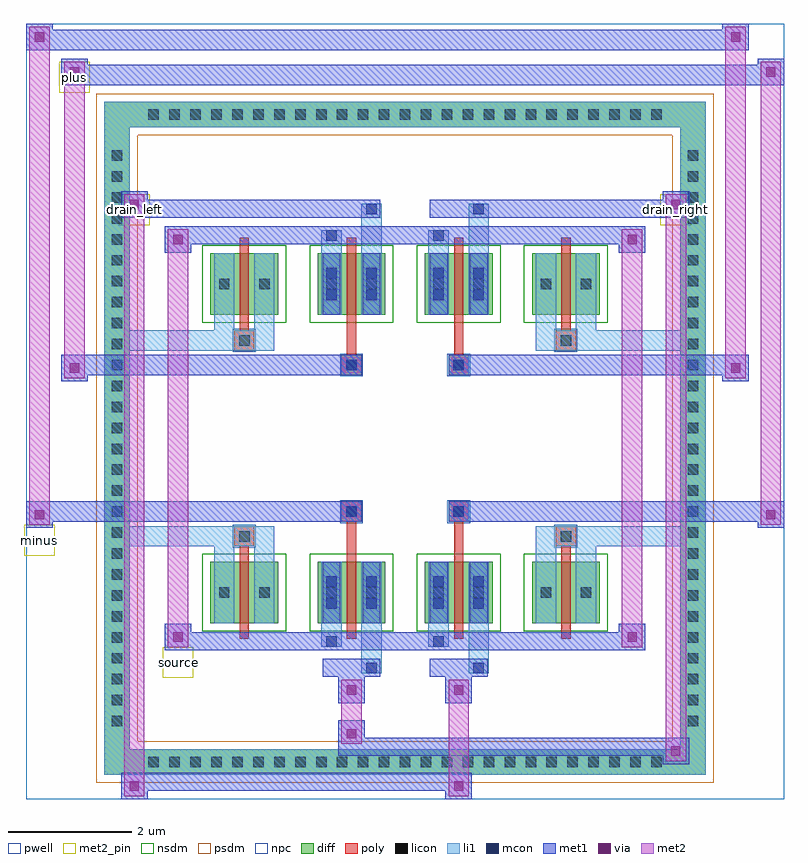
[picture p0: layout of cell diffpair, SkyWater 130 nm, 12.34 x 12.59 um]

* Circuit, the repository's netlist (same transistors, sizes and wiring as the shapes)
* NGSPICE file created from diffpair.ext - technology: sky130A

.subckt diffpair minus drain_right drain_left source plus
X0 drain_right minus source a_n976_n1092# sky130_fd_pr__nfet_01v8 ad=0.475 pd=2.95 as=0.475 ps=2.95 w=1 l=0.15
X1 drain_right minus source a_n976_n1092# sky130_fd_pr__nfet_01v8 ad=0.475 pd=2.95 as=0.475 ps=2.95 w=1 l=0.15
X2 drain_left plus source a_n976_n1092# sky130_fd_pr__nfet_01v8 ad=0.475 pd=2.95 as=0.475 ps=2.95 w=1 l=0.15
X3 a_n976_n1092# a_n976_n1092# a_n976_n1092# a_n976_n1092# sky130_fd_pr__nfet_01v8 ad=0.475 pd=2.95 as=3.8 ps=23.6 w=1 l=0.15
X4 a_n976_n1092# a_n976_n1092# a_n976_n1092# a_n976_n1092# sky130_fd_pr__nfet_01v8 ad=0.475 pd=2.95 as=0 ps=0 w=1 l=0.15
X5 drain_left plus source a_n976_n1092# sky130_fd_pr__nfet_01v8 ad=0.475 pd=2.95 as=0.475 ps=2.95 w=1 l=0.15
X6 a_n976_n1092# a_n976_n1092# a_n976_n1092# a_n976_n1092# sky130_fd_pr__nfet_01v8 ad=0.475 pd=2.95 as=0 ps=0 w=1 l=0.15
X7 a_n976_n1092# a_n976_n1092# a_n976_n1092# a_n976_n1092# sky130_fd_pr__nfet_01v8 ad=0.475 pd=2.95 as=0 ps=0 w=1 l=0.15
.ends

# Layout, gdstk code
import gdstk
lib = gdstk.Library(unit=1e-6, precision=5e-09)
def R(c, l, rs):  # rectangles x0, y0, x1, y1
    for r in rs: c.add(gdstk.rectangle(r[:2], r[2:], *l))
def A(c, l, x, y, w, h, nx, ny, dx, dy):  # array of equal rectangles
    R(c, l, [(x+i*dx, y+j*dy, x+i*dx+w, y+j*dy+h) for i in range(nx) for j in range(ny)])
def P(c, l, *ps):  # polygons
    for p in ps: c.add(gdstk.Polygon(p, *l))
pwell = (64, 44)
diff = (65, 20)
poly = (66, 20)
licon = (66, 44)
li1 = (67, 20)
mcon = (67, 44)
met1 = (68, 20)
via = (68, 44)
met2_pin = (69, 16)
met2 = (69, 20)
nsdm = (93, 44)
psdm = (94, 20)
npc = (95, 20)

diffpair = lib.new_cell('diffpair')
R(diffpair, pwell, [(-6.15,-5.86,6.15,6.73), (-3.47,-4.05,-0.01,-0.825), (0.01,-4.05,3.47,-0.825), (-3.47,0.825,-0.01,4.05), (0.01,0.825,3.47,4.05)])
A(diffpair, diff, -4.285, -5.46, 0.41, 0.41, 25, 2, 0.34, 10.51)
A(diffpair, diff, -4.88, -4.795, 0.41, 0.41, 1, 28, 0, 0.34)
A(diffpair, diff, 4.47, -4.795, 0.41, 0.41, 1, 28, 0, 0.34)
A(diffpair, diff, -3.16, -3.005, 1.1, 1, 4, 2, 1.74, 5.01)
R(diffpair, diff, [(-4.285,-5.46,4.285,-5.05), (-4.88,-4.795,-4.47,4.795), (4.47,-4.795,4.88,4.795), (-4.285,5.05,4.285,5.46)])
P(diffpair, diff, [(4.88,5.46),(-4.88,5.46),(-4.88,-5.05),(-4.47,-5.05),(-4.47,5.05),(4.47,5.05),(4.47,-5.05),(-4.47,-5.05),(-4.88,-5.05),(-4.88,-5.46),(4.88,-5.46)])
A(diffpair, poly, -2.685, -3.255, 0.15, 1.5, 4, 2, 1.74, 5.01)
R(diffpair, poly, [(-2.775,-1.755,-2.445,-1.425), (-2.775,-1.755,-2.445,-1.425), (-0.945,-1.755,-0.795,-1.355), (0.795,-1.755,0.945,-1.355), (2.445,-1.755,2.775,-1.425), (2.445,-1.755,2.775,-1.425), (-1.035,-1.355,-0.705,-1.025), (-1.035,-1.355,-0.705,-1.025), (0.705,-1.355,1.035,-1.025), (0.705,-1.355,1.035,-1.025), (-1.035,1.025,-0.705,1.355), (-1.035,1.025,-0.705,1.355), (0.705,1.025,1.035,1.355), (0.705,1.025,1.035,1.355), (-0.945,1.355,-0.795,1.755), (0.795,1.355,0.945,1.755), (-2.775,1.425,-2.445,1.755), (-2.775,1.425,-2.445,1.755), (2.445,1.425,2.775,1.755), (2.445,1.425,2.775,1.755)])
A(diffpair, licon, -4.165, -5.34, 0.17, 0.17, 25, 2, 0.34, 10.51)
A(diffpair, licon, -4.76, -4.675, 0.17, 0.17, 1, 28, 0, 0.34)
A(diffpair, licon, 4.59, -4.675, 0.17, 0.17, 1, 28, 0, 0.34)
R(diffpair, licon, [(-3.02,-2.59,-2.85,-2.42), (-2.37,-2.59,-2.2,-2.42), (-1.28,-2.59,-1.11,-2.42), (-0.63,-2.59,-0.46,-2.42), (0.46,-2.59,0.63,-2.42), (1.11,-2.59,1.28,-2.42), (2.2,-2.59,2.37,-2.42), (2.85,-2.59,3.02,-2.42), (-2.695,-1.675,-2.525,-1.505), (2.525,-1.675,2.695,-1.505), (-0.955,-1.275,-0.785,-1.105), (0.785,-1.275,0.955,-1.105), (-0.955,1.105,-0.785,1.275), (0.785,1.105,0.955,1.275), (-2.695,1.505,-2.525,1.675), (2.525,1.505,2.695,1.675), (-3.02,2.42,-2.85,2.59), (-2.37,2.42,-2.2,2.59), (-1.28,2.42,-1.11,2.59), (-0.63,2.42,-0.46,2.59), (0.46,2.42,0.63,2.59), (1.11,2.42,1.28,2.59), (2.2,2.42,2.37,2.59), (2.85,2.42,3.02,2.59)])
A(diffpair, li1, -4.245, -5.42, 0.33, 0.33, 25, 2, 0.34, 10.51)
A(diffpair, li1, -4.84, -4.755, 0.33, 0.33, 1, 28, 0, 0.34)
A(diffpair, li1, 4.51, -4.755, 0.33, 0.33, 1, 28, 0, 0.34)
R(diffpair, li1, [(-4.88,-5.46,-4.47,-5.05), (-4.88,-5.46,-4.47,-5.05), (-4.47,-5.46,4.47,-5.05), (4.47,-5.46,4.88,-5.05), (4.47,-5.46,4.88,-5.05), (-4.88,-5.05,-4.47,5.05), (4.47,-5.05,4.88,5.05), (-0.71,-3.81,-0.38,-3.005), (-0.63,-3.81,-0.46,-3.64), (1.03,-3.81,1.36,-3.005), (1.11,-3.81,1.28,-3.64), (-1.36,-3.38,-1.03,-3.005), (-1.28,-3.38,-1.11,-3.21), (0.38,-3.38,0.71,-3.005), (0.46,-3.38,0.63,-3.21), (-3.1,-3.005,-2.77,-2.005), (-2.45,-3.005,-2.12,-2.005), (-1.36,-3.005,-1.03,-2.005), (-0.71,-3.005,-0.38,-2.005), (0.38,-3.005,0.71,-2.005), (1.03,-3.005,1.36,-2.005), (2.12,-3.005,2.45,-2.005), (2.77,-3.005,3.1,-2.005), (-1.28,-2.77,-1.11,-2.6), (-1.28,-2.77,-1.11,-2.24), (-0.63,-2.77,-0.46,-2.6), (-0.63,-2.77,-0.46,-2.24), (0.46,-2.77,0.63,-2.6), (0.46,-2.77,0.63,-2.24), (1.11,-2.77,1.28,-2.6), (1.11,-2.77,1.28,-2.24), (-3.1,-2.67,-2.77,-2.34), (-2.45,-2.67,-2.12,-2.34), (-1.36,-2.67,-1.03,-2.34), (-0.71,-2.67,-0.38,-2.34), (0.38,-2.67,0.71,-2.34), (1.03,-2.67,1.36,-2.34), (2.12,-2.67,2.45,-2.34), (2.77,-2.67,3.1,-2.34), (-1.28,-2.41,-1.11,-2.24), (-0.63,-2.41,-0.46,-2.24), (0.46,-2.41,0.63,-2.24), (1.11,-2.41,1.28,-2.24), (-3.1,-2.005,-2.77,-1.425), (-2.45,-2.005,-2.12,-1.425), (2.12,-2.005,2.45,-1.425), (2.77,-2.005,3.1,-1.425), (-4.88,-1.755,-2.775,-1.425), (-3.1,-1.755,-2.775,-1.425), (-2.775,-1.755,-2.445,-1.425), (-2.445,-1.755,-2.12,-1.425), (2.12,-1.755,2.445,-1.425), (2.445,-1.755,2.775,-1.425), (2.445,-1.755,4.88,-1.425), (2.775,-1.755,3.1,-1.425), (-1.035,-1.355,-0.705,-1.025), (0.705,-1.355,1.035,-1.025), (-1.035,1.025,-0.705,1.355), (0.705,1.025,1.035,1.355), (-4.88,1.425,-2.775,1.755), (-3.1,1.425,-2.775,1.755), (-3.1,1.425,-2.77,2.005), (-2.775,1.425,-2.445,1.755), (-2.45,1.425,-2.12,2.005), (-2.445,1.425,-2.12,1.755), (2.12,1.425,2.445,1.755), (2.12,1.425,2.45,2.005), (2.445,1.425,2.775,1.755), (2.445,1.425,4.88,1.755), (2.77,1.425,3.1,2.005), (2.775,1.425,3.1,1.755), (-3.1,2.005,-2.77,3.005), (-2.45,2.005,-2.12,3.005), (-1.36,2.005,-1.03,3.005), (-0.71,2.005,-0.38,3.005), (0.38,2.005,0.71,3.005), (1.03,2.005,1.36,3.005), (2.12,2.005,2.45,3.005), (2.77,2.005,3.1,3.005), (-1.28,2.24,-1.11,2.41), (-1.28,2.24,-1.11,2.77), (-0.63,2.24,-0.46,2.41), (-0.63,2.24,-0.46,2.77), (0.46,2.24,0.63,2.41), (0.46,2.24,0.63,2.77), (1.11,2.24,1.28,2.41), (1.11,2.24,1.28,2.77), (-3.1,2.34,-2.77,2.67), (-2.45,2.34,-2.12,2.67), (-1.36,2.34,-1.03,2.67), (-0.71,2.34,-0.38,2.67), (0.38,2.34,0.71,2.67), (1.03,2.34,1.36,2.67), (2.12,2.34,2.45,2.67), (2.77,2.34,3.1,2.67), (-1.28,2.6,-1.11,2.77), (-0.63,2.6,-0.46,2.77), (0.46,2.6,0.63,2.77), (1.11,2.6,1.28,2.77), (-1.36,3.005,-1.03,3.38), (-0.71,3.005,-0.38,3.81), (0.38,3.005,0.71,3.38), (1.03,3.005,1.36,3.81), (-1.28,3.21,-1.11,3.38), (0.46,3.21,0.63,3.38), (-0.63,3.64,-0.46,3.81), (1.11,3.64,1.28,3.81), (-4.88,5.05,-4.47,5.46), (-4.88,5.05,-4.47,5.46), (-4.47,5.05,4.47,5.46), (4.47,5.05,4.88,5.46), (4.47,5.05,4.88,5.46)])
R(diffpair, mcon, [(-0.63,-3.81,-0.46,-3.64), (1.11,-3.81,1.28,-3.64), (-1.28,-3.38,-1.11,-3.21), (0.46,-3.38,0.63,-3.21), (-1.28,-2.77,-1.11,-2.6), (-0.63,-2.77,-0.46,-2.6), (0.46,-2.77,0.63,-2.6), (1.11,-2.77,1.28,-2.6), (-1.28,-2.41,-1.11,-2.24), (-0.63,-2.41,-0.46,-2.24), (0.46,-2.41,0.63,-2.24), (1.11,-2.41,1.28,-2.24), (-0.955,-1.275,-0.785,-1.105), (0.785,-1.275,0.955,-1.105), (-0.955,1.105,-0.785,1.275), (0.785,1.105,0.955,1.275), (-1.28,2.24,-1.11,2.41), (-0.63,2.24,-0.46,2.41), (0.46,2.24,0.63,2.41), (1.11,2.24,1.28,2.41), (-1.28,2.6,-1.11,2.77), (-0.63,2.6,-0.46,2.77), (0.46,2.6,0.63,2.77), (1.11,2.6,1.28,2.77), (-1.28,3.21,-1.11,3.38), (0.46,3.21,0.63,3.38), (-0.63,3.64,-0.46,3.81), (1.11,3.64,1.28,3.81)])
R(diffpair, met1, [(-4.61,-5.86,-4.18,-5.43), (0.655,-5.86,1.085,-5.43), (-4.61,-5.72,1.085,-5.43), (4.18,-5.29,4.61,-4.86), (-1.085,-5.15,4.61,-4.86), (-1.085,-5.01,-0.655,-4.58), (-1.085,-4.3,-0.655,-3.87), (0.655,-4.3,1.085,-3.87), (-1.34,-3.87,-0.4,-3.58), (-0.69,-3.87,-0.4,-3.58), (0.4,-3.87,1.34,-3.58), (1.05,-3.87,1.34,-3.58), (-3.9,-3.44,-3.47,-3.01), (-3.9,-3.44,-1.34,-3.15), (-1.34,-3.44,-1.05,-3.15), (-1.34,-3.44,-0.4,-3.15), (-0.4,-3.44,0.4,-3.15), (0.4,-3.44,0.69,-3.15), (0.4,-3.44,1.34,-3.15), (1.34,-3.44,3.9,-3.15), (3.47,-3.44,3.9,-3.01), (-1.34,-3.005,-1.05,-2.005), (-0.69,-3.005,-0.4,-2.005), (0.4,-3.005,0.69,-2.005), (1.05,-3.005,1.34,-2.005), (-1.34,-2.83,-1.05,-2.54), (-0.69,-2.83,-0.4,-2.54), (0.4,-2.83,0.69,-2.54), (1.05,-2.83,1.34,-2.54), (-1.34,-2.47,-1.05,-2.18), (-0.69,-2.47,-0.4,-2.18), (0.4,-2.47,0.69,-2.18), (1.05,-2.47,1.34,-2.18), (-6.15,-1.455,-5.72,-1.025), (5.72,-1.455,6.15,-1.025), (-6.15,-1.355,-0.705,-1.025), (-1.035,-1.355,-0.705,-1.025), (0.705,-1.355,1.035,-1.025), (0.705,-1.355,6.15,-1.025), (-1.015,-1.335,-0.725,-1.045), (0.725,-1.335,1.015,-1.045), (-5.58,0.925,-5.15,1.355), (5.15,0.925,5.58,1.355), (-5.58,1.025,-1.035,1.355), (-1.035,1.025,-0.705,1.355), (0.705,1.025,1.035,1.355), (1.035,1.025,5.58,1.355), (-1.015,1.045,-0.725,1.335), (0.725,1.045,1.015,1.335), (-1.34,2.005,-1.05,3.005), (-0.69,2.005,-0.4,3.005), (0.4,2.005,0.69,3.005), (1.05,2.005,1.34,3.005), (-1.34,2.18,-1.05,2.47), (-0.69,2.18,-0.4,2.47), (0.4,2.18,0.69,2.47), (1.05,2.18,1.34,2.47), (-1.34,2.54,-1.05,2.83), (-0.69,2.54,-0.4,2.83), (0.4,2.54,0.69,2.83), (1.05,2.54,1.34,2.83), (-3.9,3.01,-3.47,3.44), (3.47,3.01,3.9,3.44), (-3.9,3.15,-1.34,3.44), (-1.34,3.15,-1.05,3.44), (-1.34,3.15,-0.4,3.44), (-0.4,3.15,0.4,3.44), (0.4,3.15,0.69,3.44), (0.4,3.15,1.34,3.44), (1.34,3.15,3.9,3.44), (-4.61,3.58,-4.18,4.01), (-4.61,3.58,-1.34,3.87), (-1.34,3.58,-0.4,3.87), (-0.69,3.58,-0.4,3.87), (0.4,3.58,1.34,3.87), (1.05,3.58,1.34,3.87), (1.34,3.58,4.61,3.87), (4.18,3.58,4.61,4.01), (-5.58,5.73,-5.15,6.16), (-5.58,5.73,-3.47,6.06), (-3.47,5.73,3.47,6.06), (3.47,5.73,6.15,6.06), (5.72,5.73,6.15,6.16), (-6.15,6.3,-5.72,6.73), (-6.15,6.3,-3.47,6.63), (-3.47,6.3,3.47,6.63), (3.47,6.3,5.58,6.63), (5.15,6.3,5.58,6.73)])
R(diffpair, via, [(-4.47,-5.72,-4.32,-5.57), (0.795,-5.72,0.945,-5.57), (4.32,-5.15,4.47,-5), (-0.945,-4.87,-0.795,-4.72), (-0.945,-4.16,-0.795,-4.01), (0.795,-4.16,0.945,-4.01), (-3.76,-3.3,-3.61,-3.15), (3.61,-3.3,3.76,-3.15), (-6.01,-1.315,-5.86,-1.165), (5.86,-1.315,6.01,-1.165), (-5.44,1.065,-5.29,1.215), (5.29,1.065,5.44,1.215), (-3.76,3.15,-3.61,3.3), (3.61,3.15,3.76,3.3), (-4.47,3.72,-4.32,3.87), (4.32,3.72,4.47,3.87), (-5.44,5.87,-5.29,6.02), (5.86,5.87,6.01,6.02), (-6.01,6.44,-5.86,6.59), (5.29,6.44,5.44,6.59)])
R(diffpair, met2_pin, [(-3.935,-3.89,-3.435,-3.39), (-6.185,-1.905,-5.685,-1.405), (-4.645,3.46,-4.145,3.96), (4.145,3.46,4.645,3.96), (-5.615,5.61,-5.115,6.11)])
R(diffpair, met2, [(-4.56,-5.81,-4.23,-5.48), (-4.56,-5.81,-4.23,3.96), (0.705,-5.81,1.035,-5.48), (0.705,-5.48,1.035,-4.25), (4.23,-5.24,4.56,-4.91), (4.23,-5.24,4.56,3.96), (-1.035,-4.96,-0.705,-4.63), (-1.035,-4.63,-0.705,-4.25), (-1.035,-4.25,-0.705,-3.92), (0.705,-4.25,1.035,-3.92), (-3.85,-3.39,-3.52,-3.06), (-3.85,-3.39,-3.52,3.39), (3.52,-3.39,3.85,-3.06), (3.52,-3.39,3.85,3.39), (-6.1,-1.405,-5.77,-1.075), (-6.1,-1.405,-5.77,6.68), (5.77,-1.405,6.1,-1.075), (5.77,-1.405,6.1,6.11), (-5.53,0.975,-5.2,1.305), (-5.53,0.975,-5.2,6.11), (5.2,0.975,5.53,1.305), (5.2,0.975,5.53,6.68), (-3.85,3.06,-3.52,3.39), (3.52,3.06,3.85,3.39), (-4.56,3.63,-4.23,3.96), (4.23,3.63,4.56,3.96), (-5.53,5.78,-5.2,6.11), (5.77,5.78,6.1,6.11), (-6.1,6.35,-5.77,6.68), (5.2,6.35,5.53,6.68)])
P(diffpair, met2, [(6.1,-1.405),(6.1,-1.405),(6.1,-1.075),(6.1,-1.075)],
  [(6.1,5.78),(6.1,5.78),(6.1,6.11),(6.1,6.11)],
  [(-5.77,-1.405),(-5.77,-1.405),(-5.77,-1.075),(-5.77,-1.075)],
  [(-5.77,6.35),(-5.77,6.35),(-5.77,6.68),(-5.77,6.68)],
  [(5.53,0.975),(5.53,0.975),(5.53,1.305),(5.53,1.305)],
  [(5.53,6.35),(5.53,6.35),(5.53,6.68),(5.53,6.68)],
  [(-5.2,0.975),(-5.2,0.975),(-5.2,1.305),(-5.2,1.305)],
  [(-5.2,5.78),(-5.2,5.78),(-5.2,6.11),(-5.2,6.11)],
  [(-4.23,-5.81),(-4.23,-5.81),(-4.23,-5.48),(-4.23,-5.48)],
  [(-4.23,3.63),(-4.23,3.63),(-4.23,3.96),(-4.23,3.96)],
  [(4.56,-5.24),(4.56,-5.24),(4.56,-4.91),(4.56,-4.91)],
  [(4.56,3.63),(4.56,3.63),(4.56,3.96),(4.56,3.96)],
  [(-3.52,-3.39),(-3.52,-3.39),(-3.52,-3.06),(-3.52,-3.06)],
  [(-3.52,3.06),(-3.52,3.06),(-3.52,3.39),(-3.52,3.39)],
  [(3.85,-3.39),(3.85,-3.39),(3.85,-3.06),(3.85,-3.06)],
  [(3.85,3.06),(3.85,3.06),(3.85,3.39),(3.85,3.39)])
A(diffpair, nsdm, -3.29, -3.135, 1.36, 1.26, 4, 2, 1.74, 5.01)
P(diffpair, psdm, [(5.01,5.59),(-5.01,5.59),(-5.01,-4.92),(-4.34,-4.92),(-4.34,4.92),(4.34,4.92),(4.34,-4.92),(-4.34,-4.92),(-5.01,-4.92),(-5.01,-5.59),(5.01,-5.59)])
R(diffpair, npc, [(-2.795,-1.775,-2.425,-1.405), (2.425,-1.775,2.795,-1.405), (-1.055,-1.375,-0.685,-1.005), (0.685,-1.375,1.055,-1.005), (-1.055,1.005,-0.685,1.375), (0.685,1.005,1.055,1.375), (-2.795,1.405,-2.425,1.775), (2.425,1.405,2.795,1.775)])
diffpair.add(gdstk.Label('minus', (-5.935,-1.655), layer=69, texttype=5))
diffpair.add(gdstk.Label('drain_right', (4.395,3.71), layer=69, texttype=5))
diffpair.add(gdstk.Label('drain_left', (-4.395,3.71), layer=69, texttype=5))
diffpair.add(gdstk.Label('source', (-3.685,-3.64), layer=69, texttype=5))
diffpair.add(gdstk.Label('plus', (-5.365,5.86), layer=69, texttype=5))

lib.write_gds('diffpair.gds')
